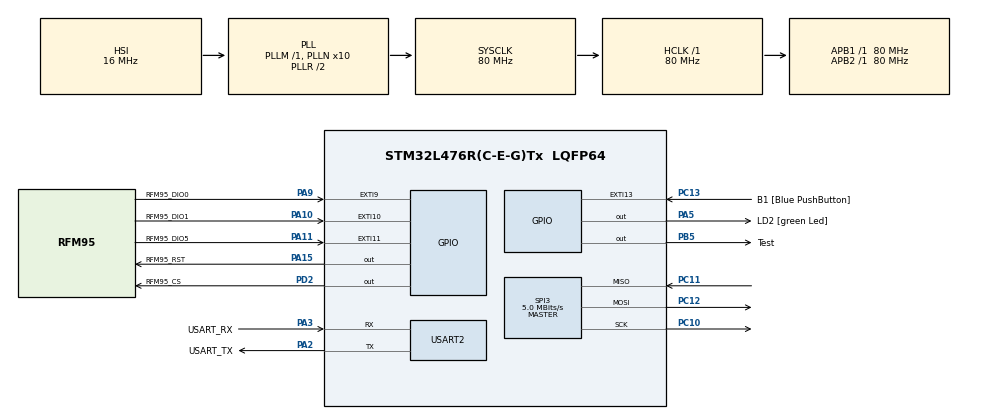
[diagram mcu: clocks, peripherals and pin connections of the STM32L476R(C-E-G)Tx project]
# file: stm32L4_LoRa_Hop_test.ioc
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Mcu.Family=STM32L4
Mcu.Name=STM32L476R(C-E-G)Tx
Mcu.Package=LQFP64
NVIC.EXTI15_10_IRQn=true\:0\:0\:false\:false\:true\:true\:true\:true
NVIC.EXTI9_5_IRQn=true\:0\:0\:false\:false\:true\:true\:true\:true
NVIC.LPTIM1_IRQn=true\:0\:0\:false\:false\:true\:true\:true\:true
NVIC.PriorityGroup=NVIC_PRIORITYGROUP_4
NVIC.RTC_WKUP_IRQn=true\:0\:0\:false\:false\:true\:true\:true\:true
PA10.GPIO_Label=RFM95_DIO1
PA10.Signal=GPXTI10
PA11.GPIO_Label=RFM95_DIO5
PA11.Signal=GPXTI11
PA13\ (JTMS-SWDIO).GPIO_Label=TMS
PA13\ (JTMS-SWDIO).Mode=Serial_Wire
PA13\ (JTMS-SWDIO).Signal=SYS_JTMS-SWDIO
PA14\ (JTCK-SWCLK).GPIO_Label=TCK
PA14\ (JTCK-SWCLK).Mode=Serial_Wire
PA14\ (JTCK-SWCLK).Signal=SYS_JTCK-SWCLK
PA15\ (JTDI).GPIO_Label=RFM95_RST
PA15\ (JTDI).GPIO_ModeDefaultOutputPP=GPIO_MODE_OUTPUT_OD
PA15\ (JTDI).GPIO_PuPd=GPIO_NOPULL
PA15\ (JTDI).PinState=GPIO_PIN_SET
PA15\ (JTDI).Signal=GPIO_Output
PA2.GPIO_Label=USART_TX
PA2.GPIO_Mode=GPIO_MODE_AF_PP
PA2.GPIO_PuPd=GPIO_NOPULL
PA2.GPIO_Speed=GPIO_SPEED_FREQ_VERY_HIGH
PA2.Mode=Asynchronous
PA2.Signal=USART2_TX
PA3.GPIO_Label=USART_RX
PA3.GPIO_Mode=GPIO_MODE_AF_PP
PA3.GPIO_PuPd=GPIO_NOPULL
PA3.GPIO_Speed=GPIO_SPEED_FREQ_VERY_HIGH
PA3.Mode=Asynchronous
PA3.Signal=USART2_RX
PA5.GPIO_Label=LD2 [green Led]
PA5.GPIO_ModeDefaultOutputPP=GPIO_MODE_OUTPUT_PP
PA5.GPIO_PuPd=GPIO_NOPULL
PA5.GPIO_Speed=GPIO_SPEED_FREQ_LOW
PA5.Signal=GPIO_Output
PA9.GPIO_Label=RFM95_DIO0
PA9.Signal=GPXTI9
PB3\ (JTDO-TRACESWO).GPIO_Label=SWO
PB3\ (JTDO-TRACESWO).Signal=SYS_JTDO-SWO
PB5.GPIO_Label=Test
PB5.Signal=GPIO_Output
PC10.Mode=Full_Duplex_Master
PC10.Signal=SPI3_SCK
PC11.GPIO_PuPd=GPIO_PULLUP
PC11.Mode=Full_Duplex_Master
PC11.Signal=SPI3_MISO
PC12.Mode=Full_Duplex_Master
PC12.Signal=SPI3_MOSI
PC13.GPIO_Label=B1 [Blue PushButton]
PC13.GPIO_ModeDefaultEXTI=GPIO_MODE_IT_FALLING
PC13.GPIO_PuPd=GPIO_NOPULL
PC13.Signal=GPXTI13
PC14-OSC32_IN\ (PC14).Mode=LSE-External-Oscillator
PC14-OSC32_IN\ (PC14).Signal=RCC_OSC32_IN
PC15-OSC32_OUT\ (PC15).Mode=LSE-External-Oscillator
PC15-OSC32_OUT\ (PC15).Signal=RCC_OSC32_OUT
PD2.GPIO_Label=RFM95_CS
PD2.GPIO_ModeDefaultOutputPP=GPIO_MODE_OUTPUT_PP
PD2.GPIO_PuPd=GPIO_PULLUP
PD2.GPIO_Speed=GPIO_SPEED_FREQ_MEDIUM
PD2.PinState=GPIO_PIN_SET
PD2.Signal=GPIO_Output
PH0-OSC_IN\ (PH0).Signal=RCC_OSC_IN
PH1-OSC_OUT\ (PH1).Signal=RCC_OSC_OUT
ProjectManager.HeapSize=0x200
ProjectManager.StackSize=0x400
ProjectManager.TargetToolchain=STM32CubeIDE
RCC.ADCFreq_Value=64000000
RCC.AHBFreq_Value=80000000
RCC.APB1Freq_Value=80000000
RCC.APB1TimFreq_Value=80000000
RCC.APB2Freq_Value=80000000
RCC.APB2TimFreq_Value=80000000
RCC.CK48CLockSelection=RCC_USBCLKSOURCE_PLL
RCC.CortexFreq_Value=80000000
RCC.HCLKFreq_Value=80000000
RCC.HSE_VALUE=8000000
RCC.HSI_VALUE=16000000
RCC.LPTIM1CLockSelection=RCC_LPTIM1CLKSOURCE_LSE
RCC.MSI_VALUE=4000000
RCC.PLLN=10
RCC.PLLQ=RCC_PLLQ_DIV8
RCC.PLLSourceVirtual=RCC_PLLSOURCE_HSI
RCC.PREFETCH_ENABLE=1
RCC.RTCClockSelection=RCC_RTCCLKSOURCE_LSE
RCC.SYSCLKFreq_VALUE=80000000
RCC.SYSCLKSource=RCC_SYSCLKSOURCE_PLLCLK
RCC.USBFreq_Value=20000000
RCC.VCOOutputFreq_Value=160000000
SPI3.BaudRatePrescaler=SPI_BAUDRATEPRESCALER_16
SPI3.CalculateBaudRate=5.0 MBits/s
SPI3.DataSize=SPI_DATASIZE_8BIT
SPI3.Direction=SPI_DIRECTION_2LINES
SPI3.Mode=SPI_MODE_MASTER
SPI3.VirtualType=VM_MASTER
USART2.VirtualMode-Asynchronous=VM_ASYNC
VP_LPTIM1_VS_LPTIM_counterModeInternalClock.Mode=Counts__internal_clock_event_00
VP_RNG_VS_RNG.Mode=RNG_Activate
VP_RTC_VS_RTC_Activate.Mode=RTC_Enabled
VP_RTC_VS_RTC_Calendar.Mode=RTC_Calendar
VP_RTC_VS_RTC_WakeUp_intern.Mode=WakeUp
board=NUCLEO-L476RG

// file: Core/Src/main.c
/* USER CODE BEGIN Header */
/**
  ******************************************************************************
  * @file           : main.c
  * @brief          : Main program body
  ******************************************************************************
  * @attention
  *
  * Copyright (c) 2025 STMicroelectronics.
  * All rights reserved.
  *
  * This software is licensed under terms that can be found in the LICENSE file
  * in the root directory of this software component.
  * If no LICENSE file comes with this software, it is provided AS-IS.
  *
  ******************************************************************************
  */
/* USER CODE END Header */
#include "main.h"

/* USER CODE BEGIN Includes */
#include "stdio.h"
#include "string.h"
#include "lora.h"
#include "buff_manager.h"
#include "app_events.h"
/* USER CODE END Includes */

/* USER CODE BEGIN PTD */
// rfm95 handler
rfm95_handle_t rfm95_handle = {0};

// setup linked list to hanlde TX sequence
LL_node tx_buff[BUFF_FIFO_SIZE];
LL_handler h_tx = {
    .head = 0,
    .tail = 0,
    .ins_idx = 0,

    .ll_status = LL_EMPTY,

    .ll_buff = &tx_buff[0]
};

// define RX buffer for BC payloads
rnode h_rx[BUFF_FIFO_SIZE];

// setup handler to manage RX - TX events
h_rx_tx h_buffs = {
    .h_rx = &h_rx[0],
    .h_tx = &h_tx
};

// system handler
Sys_handler h_sys = {
    .evt_flags = SYS_EVT_NO_PENDING,
    .state     = SYS_RDY
};

/* USER CODE END PTD */

LPTIM_HandleTypeDef hlptim1;

RNG_HandleTypeDef hrng;

RTC_HandleTypeDef hrtc;

SPI_HandleTypeDef hspi3;

UART_HandleTypeDef huart2;

/* USER CODE BEGIN PV */
// ------------- LPTIM ----------------
volatile uint32_t lptim_tick_msb = 0;
uint32_t tx_evt_time = 0;

// ----------- RX-TX FIFO -------------
events_flags app_flags = {0};           // handle status flags from RX TX buffers operation

// --------- Variables used for simulation ---------
volatile bool tx_evt = false;

uint8_t tx_seq_idx = 0;

// --------- Build some random payloads ------------
uint8_t pyl1[SENSOR_PLD_BYTES] = {0xAA,0xAA,0xBB,0xBB};
uint8_t pyl1_len = 4;

uint8_t pyl2[SENSOR_PLD_BYTES] = {0xCC,0xDD};
uint8_t pyl2_len = 2;

uint8_t pyl3[SENSOR_PLD_BYTES] = {0xEE,0xFF,0xDD,0xFF,0xEE,0x00,0x00,0xFF};
uint8_t pyl3_len = 8;

/* USER CODE END PV */

void SystemClock_Config(void);
static void MX_GPIO_Init(void);
static void MX_USART2_UART_Init(void);
static void MX_RTC_Init(void);
static void MX_SPI3_Init(void);
static void MX_LPTIM1_Init(void);
static void MX_RNG_Init(void);
/* USER CODE BEGIN PFP */
int _write(int file, char *ptr, int len);
void debug_pin_set();
void debug_pin_rst();

static bool     init_rfm();
static uint32_t get_precision_tick();
static void 		precision_sleep_until(uint32_t target_ticks);
static uint8_t	get_battery_level();
static void     rfm95_after_interrupts_configured();

uint8_t get_random_number(uint32_t *random_number, uint16_t timeout);
static uint16_t random_wait(uint16_t min, uint16_t max);
static void schedule_tx_evt(uint16_t min, uint16_t max);

void MySystemClock_Config(void);
void enterStopMode();

void print_LL();
void build_pkt(uint16_t sync, uint8_t mask, uint8_t nodeID, uint16_t pktID, uint8_t* sensors, uint8_t sens_len,
		           int16_t rssi, uint8_t* bc_seq, uint8_t bc_seq_len, uint8_t* t_buff, uint8_t* t_buff_len);

/* USER CODE END PFP */

/* USER CODE BEGIN 0 */

// -------------- Define here the test sequence ----------------

// ----> ENV NODE 1 (define here PKTs from operator 1)
test_buff e1_p1_bc22  = {0};
test_buff e1_p1_bc54  = {0};
test_buff e1_p1_bc543 = {0};
test_buff e1_p1_bc51  = {0};
test_buff e1_p1_bc64  = {0};
test_buff e1_p2_bc41  = {0};
test_buff e1_p1_bc21  = {0};
test_buff e1_p1_bc31  = {0};
test_buff e1_p2_bc22  = {0};
test_buff e1_p2_bc43  = {0};

test_buff e1_p1_bc22_a  = {0};
test_buff e1_p1_bc54_a  = {0};
test_buff e1_p2_bc54_a  = {0};
test_buff e1_p2_bc51_a  = {0};
test_buff e1_p1_bc51_a  = {0};
test_buff e1_p1_bc543_a = {0};

test_buff e1_p1_bc43_A  = {0};
test_buff e1_p1_bc543_A = {0};

// ----> ENV NODE 2 (define here PKTs from operator 2)
test_buff e2_p1_bc51  = {0};

test_buff e2_p1_bc64_a  = {0};

// ----> ENV NODE 3 (define here PKTs from operator 3)
test_buff e3_p1_bc53  = {0};
test_buff e3_p1_bc64  = {0};

test_buff e3_p1_bc64_a  = {0};

// ----> GENERAL BUFF (This one defines the test TX sequence)
test_buff* test_buffs[] = {
		&e1_p1_bc543,
		&e1_p1_bc54_a,
		&e1_p2_bc54_a,
		&e1_p2_bc51_a,

    &e1_p1_bc43_A,
    &e1_p1_bc543_A,
    &e1_p1_bc22_a,
    &e1_p1_bc543_a,

		&e1_p1_bc51_a,
		&e1_p1_bc543_A,
    &e1_p1_bc51,
    &e1_p1_bc54,

//		&e1_p1_bc43_A,
//		&e1_p1_bc543_A,

//		&e1_p1_bc543_a,
//		&e1_p1_bc22_a,
//		&e2_p1_bc64_a,
//		&e3_p1_bc64_a,
//		&e1_p1_bc51_a,
//		&e1_p1_bc543_a,
//		&e1_p1_bc543_a,
//		&e1_p1_bc543_a,
//		&e1_p1_bc543_a,

		&e1_p1_bc51,
		&e1_p1_bc54,
		&e1_p2_bc43,
//		&e1_p1_bc64,
//		&e1_p1_bc22,
		&e1_p1_bc22,
		&e1_p2_bc22,
		&e1_p1_bc64,
		&e1_p1_bc22,
//		&e1_p1_bc21,
//		&e1_p2_bc41,
//		&e1_p1_bc31,
//		&e2_p1_bc51,
		&e3_p1_bc53,
		&e3_p1_bc64
};

#define TEST_SEQ_SIZE (sizeof(test_buffs)/sizeof(test_buffs[0]))

/* USER CODE END 0 */

int main(void)
{

  /* USER CODE BEGIN 1 */

	// ---- POPOLATE TEST BUFFER ----
  uint8_t bc_seq[20];

  /*
   * VARIABLES FOR BUILDING PKT ARRAY:
   *
   * uint8_t mask, uint8_t nodeID, uint16_t pktID, uint8_t* sensors, uint8_t sens_len,
   * int16_t RSSI, uint8_t* bc_seq, uint8_t bc_seq_len, uint8_t* t_buff, uint8_t* t_buff_le
   */

	// ----> ENV NODE 1
	build_pkt(SYNC_WORD_ENV, 0, 1, 1, pyl1, pyl1_len, 0, bc_seq, 0, e1_p1_bc22.buff, &e1_p1_bc22.len);

	build_pkt(SYNC_WORD_ENV, 0, 1, 2, pyl2, pyl2_len, 0, bc_seq, 0, e1_p2_bc22.buff, &e1_p2_bc22.len);

	bc_seq[0] = 5;
	bc_seq[1] = 4;
	build_pkt(SYNC_WORD_BC, 0, 1, 1, pyl1, pyl1_len, -89, bc_seq, 2, e1_p1_bc54.buff, &e1_p1_bc54.len);

	bc_seq[0] = 5;
	bc_seq[1] = 4;
	bc_seq[2] = 2;
	bc_seq[3] = 1;
	build_pkt(SYNC_WORD_BC, 0, 1, 1, pyl1, pyl1_len, -89, bc_seq, 4, e1_p1_bc51.buff, &e1_p1_bc51.len);

	bc_seq[0] = 5;
	bc_seq[1] = 4;
	bc_seq[2] = 3;
	build_pkt(SYNC_WORD_BC, 0, 1, 1, pyl1, pyl1_len, -92, bc_seq, 3, e1_p1_bc543.buff, &e1_p1_bc543.len);

	bc_seq[0] = 6;
	bc_seq[1] = 5;
	bc_seq[2] = 4;
	build_pkt(SYNC_WORD_BC, 0, 1, 1, pyl1, pyl1_len, -99, bc_seq, 3, e1_p1_bc64.buff, &e1_p1_bc64.len);

	bc_seq[0] = 2;
	bc_seq[1] = 1;
	build_pkt(SYNC_WORD_BC, 0, 1, 1, pyl1, pyl1_len, -123, bc_seq, 2, e1_p1_bc21.buff, &e1_p1_bc21.len);

	bc_seq[0] = 3;
	bc_seq[1] = 2;
	bc_seq[2] = 1;
	build_pkt(SYNC_WORD_BC, 0, 1, 1, pyl1, pyl1_len, -123, bc_seq, 3, e1_p1_bc31.buff, &e1_p1_bc31.len);

	bc_seq[0] = 4;
	bc_seq[1] = 3;
	bc_seq[2] = 1;
	build_pkt(SYNC_WORD_BC, 0, 1, 2, pyl3, pyl3_len, -74, bc_seq, 3, e1_p2_bc41.buff, &e1_p2_bc41.len);

	bc_seq[0] = 4;
	bc_seq[1] = 3;
	build_pkt(SYNC_WORD_BC, 0, 1, 2, pyl3, pyl3_len, -78, bc_seq, 2, e1_p2_bc43.buff, &e1_p2_bc43.len);

	// ALARM PKTs for ENV1
	uint8_t mask;

	mask = (1 << ALARM_BIT_POS) | (0 << ACK_BIT_POS) | (0 << RETX_BIT_POS);
	build_pkt(SYNC_WORD_ENV, mask, 1, 1, pyl1, pyl1_len, -50, bc_seq, 0, e1_p1_bc22_a.buff, &e1_p1_bc22_a.len);

	bc_seq[0] = 5;
	bc_seq[1] = 4;
	mask = (1 << ALARM_BIT_POS) | (0 << ACK_BIT_POS) | (0 << RETX_BIT_POS);
	build_pkt(SYNC_WORD_BC, mask, 1, 1, pyl1, pyl1_len, -89, bc_seq, 2, e1_p1_bc54_a.buff, &e1_p1_bc54_a.len);

	bc_seq[0] = 5;
	bc_seq[1] = 4;
	bc_seq[3] = 1;
	mask = (1 << ALARM_BIT_POS) | (0 << ACK_BIT_POS) | (0 << RETX_BIT_POS);
	build_pkt(SYNC_WORD_BC, mask, 1, 1, pyl1, pyl1_len, -89, bc_seq, 3, e1_p1_bc51_a.buff, &e1_p1_bc51_a.len);

	bc_seq[0] = 5;
	bc_seq[1] = 4;
	bc_seq[2] = 3;
	mask = (1 << ALARM_BIT_POS) | (0 << ACK_BIT_POS) | (0 << RETX_BIT_POS);
	build_pkt(SYNC_WORD_BC, mask, 1, 1, pyl1, pyl1_len, -92, bc_seq, 3, e1_p1_bc543_a.buff, &e1_p1_bc543_a.len);

	bc_seq[0] = 4;
	bc_seq[1] = 3;
	mask = (1 << ALARM_BIT_POS) | (1 << ACK_BIT_POS) | (0 << RETX_BIT_POS);
	build_pkt(SYNC_WORD_BC, mask, 1, 1, pyl1, pyl1_len, -92, bc_seq, 2, e1_p1_bc43_A.buff, &e1_p1_bc43_A.len);

	bc_seq[0] = 5;
	bc_seq[1] = 4;
	bc_seq[2] = 3;
	mask = (1 << ALARM_BIT_POS) | (1 << ACK_BIT_POS) | (0 << RETX_BIT_POS);
	build_pkt(SYNC_WORD_BC, mask, 1, 1, pyl1, pyl1_len, -92, bc_seq, 3, e1_p1_bc543_A.buff, &e1_p1_bc543_A.len);

	bc_seq[0] = 5;
  bc_seq[1] = 4;
  mask = (1 << ALARM_BIT_POS) | (0 << ACK_BIT_POS) | (0 << RETX_BIT_POS);
  build_pkt(SYNC_WORD_BC, mask, 1, 2, pyl1, pyl1_len, -102, bc_seq, 2, e1_p2_bc54_a.buff, &e1_p2_bc54_a.len);

  bc_seq[0] = 5;
  bc_seq[1] = 4;
  bc_seq[2] = 3;
  bc_seq[3] = 1;
  mask = (1 << ALARM_BIT_POS) | (0 << ACK_BIT_POS) | (0 << RETX_BIT_POS);
  build_pkt(SYNC_WORD_BC, mask, 1, 2, pyl1, pyl1_len, -122, bc_seq, 4, e1_p2_bc51_a.buff, &e1_p2_bc51_a.len);

	// ----> ENV NODE 2
	bc_seq[0] = 5;
	bc_seq[1] = 3;
	bc_seq[2] = 1;
	build_pkt(SYNC_WORD_BC, 0, 2, 1, pyl2, pyl2_len,  -80, bc_seq, 3, e2_p1_bc51.buff, &e2_p1_bc51.len);

	// ALARM PKTs for ENV2
	bc_seq[0] = 6;
	bc_seq[1] = 4;
	mask = (1 << ALARM_BIT_POS) | (0 << ACK_BIT_POS) | (0 << RETX_BIT_POS);
	build_pkt(SYNC_WORD_BC, mask, 2, 1, pyl3, pyl3_len, -42, bc_seq, 2, e2_p1_bc64_a.buff, &e2_p1_bc64_a.len);

	// ----> ENV NODE 3
	bc_seq[0] = 5;
	bc_seq[1] = 4;
	bc_seq[2] = 3;
	build_pkt(SYNC_WORD_BC, 0, 3, 1, pyl3, pyl3_len,  -91, bc_seq, 3, e3_p1_bc53.buff, &e3_p1_bc53.len);

	bc_seq[0] = 6;
	bc_seq[1] = 5;
	bc_seq[2] = 4;
	build_pkt(SYNC_WORD_BC, 0, 3, 1, pyl3, pyl3_len, -101, bc_seq, 3, e3_p1_bc64.buff, &e3_p1_bc64.len);

	// ALARM PKTs for ENV3
	bc_seq[0] = 6;
	bc_seq[1] = 5;
	bc_seq[2] = 4;
	mask = (1 << ALARM_BIT_POS) | (0 << ACK_BIT_POS) | (0 << RETX_BIT_POS);
	build_pkt(SYNC_WORD_BC, mask, 3, 1, pyl3, pyl3_len, -101, bc_seq, 3, e3_p1_bc64_a.buff, &e3_p1_bc64_a.len);

  /* USER CODE END 1 */

  /* MCU Configuration--------------------------------------------------------*/

  /* Reset of all peripherals, Initializes the Flash interface and the Systick. */
  HAL_Init();

  /* Configure the system clock */
  SystemClock_Config();

  /* Initialize all configured peripherals */
  MX_GPIO_Init();
  MX_USART2_UART_Init();
  MX_RTC_Init();
  MX_SPI3_Init();
  MX_LPTIM1_Init();
  MX_RNG_Init();
  /* USER CODE BEGIN 2 */

  printf("start\r\n");

  // init RX and TX handler
  init_buffers(&h_buffs);

  // init RF in RX mode
  if (!init_rfm()) printf("Error during RFM initialization\r\n");

  /* USER CODE END 2 */

  /* Infinite loop */
  while (1){

    /* USER CODE BEGIN 3 */

  	if (tx_evt == true) {
  		tx_evt = false;

  		uint8_t c_len  = test_buffs[tx_seq_idx]->len;
  		uint8_t c_node = test_buffs[tx_seq_idx]->buff[NODE_ID_POS];
  		uint16_t c_pkt = ((uint16_t)(test_buffs[tx_seq_idx]->buff[PKT_ID_MSB_POS] << 8)) | test_buffs[tx_seq_idx]->buff[PKT_ID_LSB_POS];
  		uint8_t  c_bc1 = test_buffs[tx_seq_idx]->buff[BC_ID1_POS];
  		uint8_t  c_bcL = test_buffs[tx_seq_idx]->buff[c_len-1];

  		uint8_t c_alrm     = test_buffs[tx_seq_idx]->buff[MASK_POS] & MASK_ALARM_BIT;
  		uint8_t c_alrm_ack = test_buffs[tx_seq_idx]->buff[MASK_POS] & MASK_ALARM_ACK;

  		if (c_alrm_ack){
  			printf("\n###### ALARM ACK PKT E%d-P%d-%d%d\r\n",c_node,c_pkt,c_bc1,c_bcL);
  		} else if (c_alrm) {
  			printf("\n###### ALARM PKT E%d-P%d-%d%d\r\n",c_node,c_pkt,c_bc1,c_bcL);
  		} else {
  			printf("\n###### TX PKT E%d-P%d-%d%d\r\n",c_node,c_pkt,c_bc1,c_bcL);
  		}

  		/* Prepare TX buff here */

  		/* TX payload here */
			if (!rfm95_send(&rfm95_handle, test_buffs[tx_seq_idx]->buff, test_buffs[tx_seq_idx]->len)) printf("TX error");
			tx_seq_idx+=1;

			if (tx_seq_idx >= TEST_SEQ_SIZE) tx_seq_idx = 0;

  		/* set RFM95 back to continuous RX mode */
			if(!rfm95_enter_rx_mode(&rfm95_handle)) printf("RFM err entering RX\r\n");
  	}

  	if (h_sys.evt_flags & SYS_EVT_RX_PENDING) {
  		 h_sys.evt_flags &= ~SYS_EVT_RX_PENDING;

  		 // read rfm data and print
  		 uint8_t rx_buff[LORA_PAYLOAD_MAX_SIZE];
  		 uint8_t rx_buff_len;

  		 /* set standby mode to read data from rfm95 */
			 if(!rfm95_stdby(&rfm95_handle)) printf("RFM err stdby\r\n");

			 /* read received data */
			 if(!rfm95_receive(&rfm95_handle, &rx_buff[0], &rx_buff_len)) {

				 printf("RX error");
				 // do domething...

			 } else {

				 if (rx_buff_len < ENV_NODE_PYL_SIZE) {

					 printf("\nPKT too short, drop\r\n");

				 } else {

					 uint16_t sync = (uint16_t)((rx_buff[SYNC_WORD_POS] << 8) | (rx_buff[SYNC_WORD_POS+1]));

					 if (sync != SYNC_WORD_BC) { /* Check if TX comes from known BC node */

						 printf("\nWrong SYNC,PKT drop\r\n");

					 } else {

						 uint8_t  masks     = rx_buff[MASK_POS];
						 uint8_t  node_id   = rx_buff[NODE_ID_POS];
						 uint16_t pkt_id    = (rx_buff[PKT_ID_MSB_POS] << 8) | rx_buff[PKT_ID_LSB_POS];

						 uint8_t data[SENSOR_PLD_BYTES];
						 memcpy(data, &rx_buff[SMPL_DATA_POS], SENSOR_PLD_BYTES);

						 int16_t rssi       = (int16_t) ((rx_buff[RSSI_POS] << 8) | rx_buff[RSSI_POS + 1]);
						 uint8_t bc_id1     = rx_buff[BC_ID1_POS];
						 uint8_t last_bc_id = rx_buff[rx_buff_len-1];

						 uint8_t tx_bc_id   = 0;
						 if (rx_buff_len >= ENV_NODE_PYL_SIZE + RSSI_BYTES + 2*BC_ID_BYTES) tx_bc_id = rx_buff[rx_buff_len-2];

						 printf("\n###### RX PKT ######\r\n");
						 printf("       SYNC: 0x%04X\r\n", sync);
						 printf("        MSK: %d\r\n", masks);
						 printf("          - alarm: %d\r\n", (masks&MASK_ALARM_BIT) >> ALARM_BIT_POS);
						 printf("          -   ack: %d\r\n", (masks&MASK_ALARM_ACK) >> ACK_BIT_POS);
						 printf("    NODE ID: %d\r\n", node_id);
						 printf("     PKT ID: %d\r\n", pkt_id);
						 printf("       RSSI: %i\r\n", rssi);
						 printf("  1st BC ID: %d\r\n", bc_id1);
						 printf("   Tx BC ID: %d\r\n", tx_bc_id);
						 printf(" last BC ID: %d\r\n", last_bc_id);

						 // plot payload:
						 printf(" PYLD: ");
						 for(uint8_t i = 0; i < SENSOR_PLD_BYTES; i++){
							 printf("0x%02X ", data[i]);
						 }
						 printf("\r\n");

					 }

				 }

				 /* set RFM95 back to continuous RX mode */
				 if(!rfm95_enter_rx_mode(&rfm95_handle)) printf("RFM err entering RX\r\n");

			 }
  	}

  } // End of While superloop
  /* USER CODE END 3 */
}

void SystemClock_Config(void)
{
  RCC_OscInitTypeDef RCC_OscInitStruct = {0};
  RCC_ClkInitTypeDef RCC_ClkInitStruct = {0};

  /** Configure the main internal regulator output voltage
  */
  if (HAL_PWREx_ControlVoltageScaling(PWR_REGULATOR_VOLTAGE_SCALE1) != HAL_OK)
  {
    Error_Handler();
  }

  /** Configure LSE Drive Capability
  */
  HAL_PWR_EnableBkUpAccess();
  __HAL_RCC_LSEDRIVE_CONFIG(RCC_LSEDRIVE_LOW);

  /** Initializes the RCC Oscillators according to the specified parameters
  * in the RCC_OscInitTypeDef structure.
  */
  RCC_OscInitStruct.OscillatorType = RCC_OSCILLATORTYPE_HSI|RCC_OSCILLATORTYPE_LSE;
  RCC_OscInitStruct.LSEState = RCC_LSE_ON;
  RCC_OscInitStruct.HSIState = RCC_HSI_ON;
  RCC_OscInitStruct.HSICalibrationValue = RCC_HSICALIBRATION_DEFAULT;
  RCC_OscInitStruct.PLL.PLLState = RCC_PLL_ON;
  RCC_OscInitStruct.PLL.PLLSource = RCC_PLLSOURCE_HSI;
  RCC_OscInitStruct.PLL.PLLM = 1;
  RCC_OscInitStruct.PLL.PLLN = 10;
  RCC_OscInitStruct.PLL.PLLP = RCC_PLLP_DIV7;
  RCC_OscInitStruct.PLL.PLLQ = RCC_PLLQ_DIV8;
  RCC_OscInitStruct.PLL.PLLR = RCC_PLLR_DIV2;
  if (HAL_RCC_OscConfig(&RCC_OscInitStruct) != HAL_OK)
  {
    Error_Handler();
  }

  /** Initializes the CPU, AHB and APB buses clocks
  */
  RCC_ClkInitStruct.ClockType = RCC_CLOCKTYPE_HCLK|RCC_CLOCKTYPE_SYSCLK
                              |RCC_CLOCKTYPE_PCLK1|RCC_CLOCKTYPE_PCLK2;
  RCC_ClkInitStruct.SYSCLKSource = RCC_SYSCLKSOURCE_PLLCLK;
  RCC_ClkInitStruct.AHBCLKDivider = RCC_SYSCLK_DIV1;
  RCC_ClkInitStruct.APB1CLKDivider = RCC_HCLK_DIV1;
  RCC_ClkInitStruct.APB2CLKDivider = RCC_HCLK_DIV1;

  if (HAL_RCC_ClockConfig(&RCC_ClkInitStruct, FLASH_LATENCY_4) != HAL_OK)
  {
    Error_Handler();
  }
}

static void MX_LPTIM1_Init(void)
{

  hlptim1.Instance = LPTIM1;
  hlptim1.Init.Clock.Source = LPTIM_CLOCKSOURCE_APBCLOCK_LPOSC;
  hlptim1.Init.Clock.Prescaler = LPTIM_PRESCALER_DIV1;
  hlptim1.Init.Trigger.Source = LPTIM_TRIGSOURCE_SOFTWARE;
  hlptim1.Init.OutputPolarity = LPTIM_OUTPUTPOLARITY_HIGH;
  hlptim1.Init.UpdateMode = LPTIM_UPDATE_IMMEDIATE;
  hlptim1.Init.CounterSource = LPTIM_COUNTERSOURCE_INTERNAL;
  hlptim1.Init.Input1Source = LPTIM_INPUT1SOURCE_GPIO;
  hlptim1.Init.Input2Source = LPTIM_INPUT2SOURCE_GPIO;
  if (HAL_LPTIM_Init(&hlptim1) != HAL_OK)
  {
    Error_Handler();
  }

}

static void MX_RNG_Init(void)
{

  hrng.Instance = RNG;
  if (HAL_RNG_Init(&hrng) != HAL_OK)
  {
    Error_Handler();
  }

}

static void MX_RTC_Init(void)
{

  RTC_TimeTypeDef sTime = {0};
  RTC_DateTypeDef sDate = {0};

  /** Initialize RTC Only
  */
  hrtc.Instance = RTC;
  hrtc.Init.HourFormat = RTC_HOURFORMAT_24;
  hrtc.Init.AsynchPrediv = 127;
  hrtc.Init.SynchPrediv = 255;
  hrtc.Init.OutPut = RTC_OUTPUT_DISABLE;
  hrtc.Init.OutPutRemap = RTC_OUTPUT_REMAP_NONE;
  hrtc.Init.OutPutPolarity = RTC_OUTPUT_POLARITY_HIGH;
  hrtc.Init.OutPutType = RTC_OUTPUT_TYPE_OPENDRAIN;
  if (HAL_RTC_Init(&hrtc) != HAL_OK)
  {
    Error_Handler();
  }

  /** Initialize RTC and set the Time and Date
  */
  sTime.Hours = 0x0;
  sTime.Minutes = 0x0;
  sTime.Seconds = 0x0;
  sTime.DayLightSaving = RTC_DAYLIGHTSAVING_NONE;
  sTime.StoreOperation = RTC_STOREOPERATION_RESET;
  if (HAL_RTC_SetTime(&hrtc, &sTime, RTC_FORMAT_BCD) != HAL_OK)
  {
    Error_Handler();
  }
  sDate.WeekDay = RTC_WEEKDAY_MONDAY;
  sDate.Month = RTC_MONTH_JANUARY;
  sDate.Date = 0x1;
  sDate.Year = 0x0;

  if (HAL_RTC_SetDate(&hrtc, &sDate, RTC_FORMAT_BCD) != HAL_OK)
  {
    Error_Handler();
  }
  /* USER CODE BEGIN RTC_Init 2 */

  // make sure RTC wkup is not running:
  HAL_RTCEx_DeactivateWakeUpTimer(&hrtc);

  /* USER CODE END RTC_Init 2 */

}

static void MX_SPI3_Init(void)
{

  /* SPI3 parameter configuration*/
  hspi3.Instance = SPI3;
  hspi3.Init.Mode = SPI_MODE_MASTER;
  hspi3.Init.Direction = SPI_DIRECTION_2LINES;
  hspi3.Init.DataSize = SPI_DATASIZE_8BIT;
  hspi3.Init.CLKPolarity = SPI_POLARITY_LOW;
  hspi3.Init.CLKPhase = SPI_PHASE_1EDGE;
  hspi3.Init.NSS = SPI_NSS_SOFT;
  hspi3.Init.BaudRatePrescaler = SPI_BAUDRATEPRESCALER_16;
  hspi3.Init.FirstBit = SPI_FIRSTBIT_MSB;
  hspi3.Init.TIMode = SPI_TIMODE_DISABLE;
  hspi3.Init.CRCCalculation = SPI_CRCCALCULATION_DISABLE;
  hspi3.Init.CRCPolynomial = 7;
  hspi3.Init.CRCLength = SPI_CRC_LENGTH_DATASIZE;
  hspi3.Init.NSSPMode = SPI_NSS_PULSE_ENABLE;
  if (HAL_SPI_Init(&hspi3) != HAL_OK)
  {
    Error_Handler();
  }
  /* USER CODE BEGIN SPI3_Init 2 */
  /*
   * This dummy sequence sets clock LOW when idle, MOSI and MISO to a definite state (either HIGH or LOW)
   */
   uint8_t dummy = 0xFF;
   HAL_SPI_Transmit(&hspi3, &dummy, 1, 10);

  /* USER CODE END SPI3_Init 2 */

}

static void MX_USART2_UART_Init(void)
{

  huart2.Instance = USART2;
  huart2.Init.BaudRate = 115200;
  huart2.Init.WordLength = UART_WORDLENGTH_8B;
  huart2.Init.StopBits = UART_STOPBITS_1;
  huart2.Init.Parity = UART_PARITY_NONE;
  huart2.Init.Mode = UART_MODE_TX_RX;
  huart2.Init.HwFlowCtl = UART_HWCONTROL_NONE;
  huart2.Init.OverSampling = UART_OVERSAMPLING_16;
  huart2.Init.OneBitSampling = UART_ONE_BIT_SAMPLE_DISABLE;
  huart2.AdvancedInit.AdvFeatureInit = UART_ADVFEATURE_NO_INIT;
  if (HAL_UART_Init(&huart2) != HAL_OK)
  {
    Error_Handler();
  }

}

static void MX_GPIO_Init(void)
{
  GPIO_InitTypeDef GPIO_InitStruct = {0};

  /* GPIO Ports Clock Enable */
  __HAL_RCC_GPIOC_CLK_ENABLE();
  __HAL_RCC_GPIOH_CLK_ENABLE();
  __HAL_RCC_GPIOA_CLK_ENABLE();
  __HAL_RCC_GPIOB_CLK_ENABLE();
  __HAL_RCC_GPIOD_CLK_ENABLE();

  /*Configure GPIO pin Output Level */
  HAL_GPIO_WritePin(LD2_GPIO_Port, LD2_Pin, GPIO_PIN_RESET);

  /*Configure GPIO pin Output Level */
  HAL_GPIO_WritePin(RFM95_RST_GPIO_Port, RFM95_RST_Pin, GPIO_PIN_SET);

  /*Configure GPIO pin Output Level */
  HAL_GPIO_WritePin(RFM95_CS_GPIO_Port, RFM95_CS_Pin, GPIO_PIN_SET);

  /*Configure GPIO pin Output Level */
  HAL_GPIO_WritePin(Test_GPIO_Port, Test_Pin, GPIO_PIN_RESET);

  /*Configure GPIO pin : B1_Pin */
  GPIO_InitStruct.Pin = B1_Pin;
  GPIO_InitStruct.Mode = GPIO_MODE_IT_FALLING;
  GPIO_InitStruct.Pull = GPIO_NOPULL;
  HAL_GPIO_Init(B1_GPIO_Port, &GPIO_InitStruct);

  /*Configure GPIO pins : PC0 PC1 PC2 PC3
                           PC4 PC5 PC6 PC7
                           PC8 PC9 */
  GPIO_InitStruct.Pin = GPIO_PIN_0|GPIO_PIN_1|GPIO_PIN_2|GPIO_PIN_3
                          |GPIO_PIN_4|GPIO_PIN_5|GPIO_PIN_6|GPIO_PIN_7
                          |GPIO_PIN_8|GPIO_PIN_9;
  GPIO_InitStruct.Mode = GPIO_MODE_ANALOG;
  GPIO_InitStruct.Pull = GPIO_NOPULL;
  HAL_GPIO_Init(GPIOC, &GPIO_InitStruct);

  /*Configure GPIO pins : PA0 PA1 PA4 PA6
                           PA7 PA8 PA12 */
  GPIO_InitStruct.Pin = GPIO_PIN_0|GPIO_PIN_1|GPIO_PIN_4|GPIO_PIN_6
                          |GPIO_PIN_7|GPIO_PIN_8|GPIO_PIN_12;
  GPIO_InitStruct.Mode = GPIO_MODE_ANALOG;
  GPIO_InitStruct.Pull = GPIO_NOPULL;
  HAL_GPIO_Init(GPIOA, &GPIO_InitStruct);

  /*Configure GPIO pin : LD2_Pin */
  GPIO_InitStruct.Pin = LD2_Pin;
  GPIO_InitStruct.Mode = GPIO_MODE_OUTPUT_PP;
  GPIO_InitStruct.Pull = GPIO_NOPULL;
  GPIO_InitStruct.Speed = GPIO_SPEED_FREQ_LOW;
  HAL_GPIO_Init(LD2_GPIO_Port, &GPIO_InitStruct);

  /*Configure GPIO pins : PB0 PB1 PB2 PB10
                           PB11 PB12 PB13 PB14
                           PB15 PB4 PB6 PB7
                           PB8 PB9 */
  GPIO_InitStruct.Pin = GPIO_PIN_0|GPIO_PIN_1|GPIO_PIN_2|GPIO_PIN_10
                          |GPIO_PIN_11|GPIO_PIN_12|GPIO_PIN_13|GPIO_PIN_14
                          |GPIO_PIN_15|GPIO_PIN_4|GPIO_PIN_6|GPIO_PIN_7
                          |GPIO_PIN_8|GPIO_PIN_9;
  GPIO_InitStruct.Mode = GPIO_MODE_ANALOG;
  GPIO_InitStruct.Pull = GPIO_NOPULL;
  HAL_GPIO_Init(GPIOB, &GPIO_InitStruct);

  /*Configure GPIO pins : RFM95_DIO0_Pin RFM95_DIO1_Pin RFM95_DIO5_Pin */
  GPIO_InitStruct.Pin = RFM95_DIO0_Pin|RFM95_DIO1_Pin|RFM95_DIO5_Pin;
  GPIO_InitStruct.Mode = GPIO_MODE_IT_RISING;
  GPIO_InitStruct.Pull = GPIO_NOPULL;
  HAL_GPIO_Init(GPIOA, &GPIO_InitStruct);

  /*Configure GPIO pin : RFM95_RST_Pin */
  GPIO_InitStruct.Pin = RFM95_RST_Pin;
  GPIO_InitStruct.Mode = GPIO_MODE_OUTPUT_OD;
  GPIO_InitStruct.Pull = GPIO_NOPULL;
  GPIO_InitStruct.Speed = GPIO_SPEED_FREQ_LOW;
  HAL_GPIO_Init(RFM95_RST_GPIO_Port, &GPIO_InitStruct);

  /*Configure GPIO pin : RFM95_CS_Pin */
  GPIO_InitStruct.Pin = RFM95_CS_Pin;
  GPIO_InitStruct.Mode = GPIO_MODE_OUTPUT_PP;
  GPIO_InitStruct.Pull = GPIO_PULLUP;
  GPIO_InitStruct.Speed = GPIO_SPEED_FREQ_MEDIUM;
  HAL_GPIO_Init(RFM95_CS_GPIO_Port, &GPIO_InitStruct);

  /*Configure GPIO pin : Test_Pin */
  GPIO_InitStruct.Pin = Test_Pin;
  GPIO_InitStruct.Mode = GPIO_MODE_OUTPUT_PP;
  GPIO_InitStruct.Pull = GPIO_NOPULL;
  GPIO_InitStruct.Speed = GPIO_SPEED_FREQ_LOW;
  HAL_GPIO_Init(Test_GPIO_Port, &GPIO_InitStruct);

  /* EXTI interrupt init*/
  HAL_NVIC_SetPriority(EXTI9_5_IRQn, 0, 0);
  HAL_NVIC_EnableIRQ(EXTI9_5_IRQn);

//  HAL_NVIC_SetPriority(EXTI15_10_IRQn, 0, 0);
//  HAL_NVIC_EnableIRQ(EXTI15_10_IRQn);

}

/* USER CODE BEGIN 4 */

// -------------- RFM95 user defined functions -------------------

/*
 *
 */
bool init_rfm(){

  // Start lptim timer
  HAL_LPTIM_Counter_Start_IT(&hlptim1, 0xFFFF);

  // config RFM95
  rfm95_handle.rfm_timer  = &hlptim1;
  rfm95_handle.spi_handle = &hspi3;
  rfm95_handle.nrst_port  = RFM95_RST_GPIO_Port;
  rfm95_handle.nrst_pin   = RFM95_RST_Pin;
  rfm95_handle.nss_port   = RFM95_CS_GPIO_Port;
  rfm95_handle.nss_pin    = RFM95_CS_Pin;

  rfm95_handle.precision_tick_frequency = LSE_CLK;
  rfm95_handle.precision_tick_drift_ns_per_s = 20000;
  rfm95_handle.get_precision_tick = get_precision_tick;
  rfm95_handle.precision_sleep_until = precision_sleep_until;
  rfm95_handle.on_after_interrupts_configured = rfm95_after_interrupts_configured;
  //rfm95_handle.random_int = random_int;
  rfm95_handle.get_battery_level = get_battery_level;

  // Modify parameters here:
  rfm95_set_power(&rfm95_handle, LORA_TX_POWER); // power 2 dBm - 17 dBm
  rfm95_set_frequency(&rfm95_handle, LORA_CH_FREQ);
  rfm95_set_BW(&rfm95_handle, LORA_BW);
  rfm95_set_CR(&rfm95_handle, LORA_CR);
  rfm95_set_SF(&rfm95_handle, LORA_SF);
  rfm95_set_syncWord(&rfm95_handle, LORA_SYNC_WORD);

  // initialize RFM95
  if(!rfm95_init(&rfm95_handle)) return false;

  // set RFM95 to continuous RX mode
  if(!rfm95_enter_rx_mode(&rfm95_handle)) return false;

  return true;
}

/*
 * return precise timing based on internal LPTIM module
 */
static uint32_t get_precision_tick(){
	__disable_irq();
	uint32_t precision_tick = lptim_tick_msb | HAL_LPTIM_ReadCounter(&hlptim1);
	__enable_irq();
	return precision_tick;
}

/*
 * Allows to set the MCU into STOP2 mode with accurate wkup timer
 */
static void precision_sleep_until(uint32_t target_ticks){
	while(1){
		uint32_t curr_tick = get_precision_tick();

		// exit condition:
		if(target_ticks < curr_tick) break;

		uint32_t sleep_ticks = target_ticks - curr_tick;

		// avoid short sleep intervals:
		if(sleep_ticks < 10) break;
		else {
			// overall CMP value - some margin (needed to reset clock configurations after stop mode2)
			uint32_t compare_tick = (curr_tick & 0xFFFF) + sleep_ticks - 10;

			if (compare_tick >= 0xFFFF){ // ARR will awake MCU before compare
				HAL_SuspendTick();
				enterStopMode();
			} else { // otherwise CMP keeps MCU sleep all time
				__HAL_LPTIM_CLEAR_FLAG(&hlptim1, LPTIM_FLAG_CMPOK);
				__HAL_LPTIM_COMPARE_SET(&hlptim1, compare_tick);            // set CMP limit

				while (!__HAL_LPTIM_GET_FLAG(&hlptim1, LPTIM_FLAG_CMPOK));  // wait for effective change

				__HAL_LPTIM_CLEAR_FLAG(&hlptim1, LPTIM_FLAG_CMPM);          // clear CMP interrupt flag
				__HAL_LPTIM_ENABLE_IT(&hlptim1, LPTIM_IT_CMPM);             // enable CMP interrupt

				HAL_SuspendTick();
				enterStopMode();

				__HAL_LPTIM_DISABLE_IT(&hlptim1, LPTIM_IT_CMPM);            // disable CMP interrupt
			}
		}
	}

	while(get_precision_tick() < target_ticks);                       // wait residue time here ( < 10 ticks)
}

static uint8_t get_battery_level(){
	return 0;
}

/*
 * This function is executed after initializing rfm95 (ready to accept interrupts
 * without hard fault errors)
 */
void rfm95_after_interrupts_configured(){
  HAL_NVIC_SetPriority(EXTI15_10_IRQn, 0, 0);
  HAL_NVIC_EnableIRQ(EXTI15_10_IRQn);
}

/* Get random number from internal RNG.
 * This function automatically manages activation/de-activation of RNG module to save power
 *
 * return values:
 * - 0 = no errors
 * - 1 = timeout
 * - 2 = seed error  -> RNG must be reinitialized (random number must be discarded)
 * - 3 = Clock error -> ensure rng_clk >= ahb_clk/16 (>= 5 MHz)
 */
uint8_t get_random_number(uint32_t *random_number, uint16_t timeout){

  // enable RNG peripheral:
  __HAL_RNG_ENABLE(&hrng);

  // clear clock error and seed error interrupt flags:
  __HAL_RNG_CLEAR_IT(&hrng, RNG_IT_CEI);
  __HAL_RNG_CLEAR_IT(&hrng, RNG_IT_SEI);

  // wait for data ready bit to be set:
  uint32_t start = HAL_GetTick();
  while(!__HAL_RNG_GET_FLAG(&hrng, RNG_FLAG_DRDY)){
    if (HAL_GetTick() - start > timeout) {
      __HAL_RNG_DISABLE(&hrng);
      return 1;
    }
  }

  // RNG can be switched off here:
  __HAL_RNG_DISABLE(&hrng);

  // check seed error:
  if(__HAL_RNG_GET_IT(&hrng, RNG_IT_SEI)) return 2;

  // check clock error:
  if(__HAL_RNG_GET_IT(&hrng, RNG_IT_CEI)) return 3;

  *random_number = hrng.Instance->DR;

  // check event seed error occurred while loading data:
  if(*random_number == 0) return 2;

  return 0;
}

/* Generate random number in range [min, max] expressed in
 * milliseconds
 *
 * If min > max, or max == 0, the random wait is skipped,
 * and 0 is returned as default.
 *
 * @param uint16_t  max represents maximum time (in ms)
 * @param uint16_t  min represents minimum time (in ms)
 *
 * @return uint16_t in range [min, max]
 */
static uint16_t random_wait(uint16_t min, uint16_t max){
  if ((min >= max) || (max == 0)) return 0;

  uint32_t num;
  uint8_t rng_err = get_random_number(&num, 1);

  if (rng_err){
    // TODO handle potential rng seed error/clock error here...

    num = 0;
  }

  uint16_t range = max - min + 1;
  return (uint16_t)(min + (num % range));
}

/* Setup the RTC wake-up counter to generate an interrupt event
 * used to schedule the next transmission within a time window
 * raging from [min, max] milliseconds.
 *  -> If the computed time is smaller than 5 ms the RTC event is skipped and
 *     the transmission EVT flag (SYS_EVT_TX_PENDING) is immediately set.
 *  -> If a WKUP timer is already running, the shortest between remaining time and
 *     the new computed time is kept
 *
 * SET MIN = MAX = 0 to skip the wait time and immediately schedule a new transmission
 * event.
 *
 * @param uint16_t  max represents maximum time (in ms) for the random wait
 * @param uint16_t  min represents minimum time (in ms) for the random wait
 *
 * @return uint16_t in range [min, max]
 */
static void schedule_tx_evt(uint16_t min, uint16_t max){
  RTC_TimeTypeDef sTime;
  RTC_DateTypeDef sDate;

  // get random time between [min, max] (in milliseconds)
  uint16_t t_rand = random_wait(min, max);

  if (t_rand <= 5) {
    /*
     * if less than 5 ms (10 RTC ticks) are computed, skip the timer
     * and directly set a TX event
     */
    HAL_RTCEx_DeactivateWakeUpTimer(&hrtc);

    h_sys.evt_flags |= SYS_EVT_TX_PENDING;
    return;
  }

  HAL_RTC_GetTime(&hrtc, &sTime, RTC_FORMAT_BIN);
  HAL_RTC_GetDate(&hrtc, &sDate, RTC_FORMAT_BIN);  // latch time

  // new EVT time in milliseconds
  uint32_t now_seconds = sTime.Hours * 3600 + sTime.Minutes * 60 + sTime.Seconds;
  uint16_t milliseconds = (uint16_t)(((sTime.SecondFraction - sTime.SubSeconds) * 1000U) / (sTime.SecondFraction + 1));
  uint32_t new_evt_time = now_seconds*1000 + milliseconds + t_rand;

  if (RTC->CR & RTC_CR_WUTE) { /* RTC WKUP already running */

    // If running timer is close to trigger -> wait for it
    if (tx_evt_time <= new_evt_time + 10) return;

    // otherwise block previous timer and start a new one with shorter WKUP CNT
    HAL_RTCEx_DeactivateWakeUpTimer(&hrtc);

  }

  tx_evt_time = new_evt_time;

  // compute corresponding RTC corresponding number of ticks
  uint32_t wakeUpCounter = (uint32_t) ((t_rand * LSE_CLK / 16u)/(1000u));

  HAL_RTCEx_SetWakeUpTimer_IT(&hrtc, wakeUpCounter, RTC_WAKEUPCLOCK_RTCCLK_DIV16);
}

// --------------------------------------------------------------------------------------

// -------------------------- System Power down routines --------------------------------

/*
 * Enter stop mode and resume clock configurations on exit
 */
void enterStopMode(){

  // Stop LPTIM and clear pending bits
  HAL_LPTIM_Counter_Stop_IT(&hlptim1);
  LPTIM1->ICR |= 0x3F;

  // CLear LPTIM IRQ at NVIC level
  NVIC_ClearPendingIRQ(LPTIM1_IRQn);

  // wake from HSI --> faster wake up sequence:
	__HAL_RCC_WAKEUPSTOP_CLK_CONFIG(RCC_STOP_WAKEUPCLOCK_HSI);

	// Enter stop mode 2:
	HAL_PWREx_EnterSTOP2Mode(PWR_STOPENTRY_WFI);

	// awake here...

	// resume system clock:
	if(READ_BIT(RCC->CR, RCC_CR_PLLRDY) == 0U) MySystemClock_Config();

	// resume system tick with correct clock
	HAL_ResumeTick();

	// Enable LPTIM again:
	HAL_LPTIM_Counter_Start_IT(&hlptim1, 0xFFFF);
}

/*
 * Modified clock setup function:
 * -> Avoid repeating initialization for the LSE 32 kHz clock if already running.
 *    Doing this every time the MCU exits STOP mode, results in a corrupted timing accuracy.
 */
void MySystemClock_Config(void) {
  RCC_OscInitTypeDef RCC_OscInitStruct = {0};
  RCC_ClkInitTypeDef RCC_ClkInitStruct = {0};

  /** Configure the main internal regulator output voltage
  */
  if (HAL_PWREx_ControlVoltageScaling(PWR_REGULATOR_VOLTAGE_SCALE1) != HAL_OK)
  {
    Error_Handler();
  }

  /** Configure LSE Drive Capability only if it
  */
  if ((HAL_IS_BIT_SET(RCC->BDCR, RCC_BDCR_LSEON) == 0) || (HAL_IS_BIT_SET(RCC->BDCR, RCC_BDCR_LSERDY)) != 1){
  	HAL_PWR_EnableBkUpAccess();
		__HAL_RCC_LSEDRIVE_CONFIG(RCC_LSEDRIVE_LOW);

		RCC_OscInitStruct.OscillatorType = RCC_OSCILLATORTYPE_LSE;
  }

  /** Initializes the RCC Oscillators according to the specified parameters
  * in the RCC_OscInitTypeDef structure.
  */
  RCC_OscInitStruct.OscillatorType |= RCC_OSCILLATORTYPE_HSI;
  RCC_OscInitStruct.LSEState = RCC_LSE_ON;
  RCC_OscInitStruct.HSIState = RCC_HSI_ON;
  RCC_OscInitStruct.HSICalibrationValue = RCC_HSICALIBRATION_DEFAULT;
  RCC_OscInitStruct.PLL.PLLState = RCC_PLL_ON;
  RCC_OscInitStruct.PLL.PLLSource = RCC_PLLSOURCE_HSI;
  RCC_OscInitStruct.PLL.PLLM = 1;
  RCC_OscInitStruct.PLL.PLLN = 10;
  RCC_OscInitStruct.PLL.PLLP = RCC_PLLP_DIV7;
  RCC_OscInitStruct.PLL.PLLQ = RCC_PLLQ_DIV2;
  RCC_OscInitStruct.PLL.PLLR = RCC_PLLR_DIV2;
  if (HAL_RCC_OscConfig(&RCC_OscInitStruct) != HAL_OK)
  {
    Error_Handler();
  }

  /** Initializes the CPU, AHB and APB buses clocks
  */
  RCC_ClkInitStruct.ClockType = RCC_CLOCKTYPE_HCLK|RCC_CLOCKTYPE_SYSCLK
                              |RCC_CLOCKTYPE_PCLK1|RCC_CLOCKTYPE_PCLK2;
  RCC_ClkInitStruct.SYSCLKSource = RCC_SYSCLKSOURCE_PLLCLK;
  RCC_ClkInitStruct.AHBCLKDivider = RCC_SYSCLK_DIV1;
  RCC_ClkInitStruct.APB1CLKDivider = RCC_HCLK_DIV1;
  RCC_ClkInitStruct.APB2CLKDivider = RCC_HCLK_DIV1;

  if (HAL_RCC_ClockConfig(&RCC_ClkInitStruct, FLASH_LATENCY_4) != HAL_OK)
  {
    Error_Handler();
  }
}

// --------------------------------------------------------------------------------------

// ------------------------------------- Call-backs --------------------------------------

// Auto-reload callback for LPTIM module
void HAL_LPTIM_AutoReloadMatchCallback(LPTIM_HandleTypeDef *hlptim){
  lptim_tick_msb += 0x10000;
}

// Compare match callback for LPTIM module
void HAL_LPTIM_CompareMatchCallback(LPTIM_HandleTypeDef *hlptim){
  // do nothing...
}

// RTC wkup timer -> needed to schedule tx events
void HAL_RTCEx_WakeUpTimerEventCallback(RTC_HandleTypeDef *hrtc){
  h_sys.evt_flags |= SYS_EVT_TX_PENDING;
}

// GPIO external interrupts callback
void HAL_GPIO_EXTI_Callback(uint16_t GPIO_Pin){

	// Events on RFM95 interrupt pins
  if (GPIO_Pin == RFM95_DIO0_Pin) {
    rfm95_on_interrupt(&rfm95_handle, RFM95_INTERRUPT_DIO0);

    // something received
    if(rfm95_handle.rfm_status == RXCONTIN_MODE) h_sys.evt_flags |= SYS_EVT_RX_PENDING;

  } else if (GPIO_Pin == RFM95_DIO1_Pin) {
    rfm95_on_interrupt(&rfm95_handle, RFM95_INTERRUPT_DIO1);
  } else if (GPIO_Pin == RFM95_DIO5_Pin) {
    rfm95_on_interrupt(&rfm95_handle, RFM95_INTERRUPT_DIO5);
  } else if (GPIO_Pin == B1_Pin) {
  	tx_evt = true;
  }
}

// ----------------------------------------------------------------------------------------

// --------------------------------- DEBUG FUNCTIONS --------------------------------------

void build_pkt(uint16_t sync, uint8_t mask, uint8_t nodeID, uint16_t pktID, uint8_t* sensors, uint8_t sens_len,
		           int16_t rssi, uint8_t* bc_seq, uint8_t bc_seq_len, uint8_t* t_buff, uint8_t* t_buff_len){

	t_buff[SYNC_WORD_POS]   = (uint8_t)((sync >> 8) & 0xFF);
	t_buff[SYNC_WORD_POS+1] = (uint8_t)( sync & 0xFF);
	t_buff[MASK_POS]        = mask;
	t_buff[NODE_ID_POS]     = nodeID;
	t_buff[PKT_ID_MSB_POS]  = (uint8_t)((pktID >> 8) & 0xFF);
	t_buff[PKT_ID_LSB_POS]  = (uint8_t)(pktID & 0xFF);

	memcpy(&t_buff[SMPL_DATA_POS],sensors, sens_len);

	*t_buff_len = ENV_NODE_PYL_SIZE;

	if(bc_seq_len != 0){

		t_buff[RSSI_POS]        = (uint8_t)((rssi >> 8) & 0xFF);
		t_buff[RSSI_POS+1]      = (uint8_t)(rssi & 0xFF);

		memcpy(&t_buff[BC_ID1_POS],bc_seq,bc_seq_len);

		*t_buff_len += (RSSI_BYTES + bc_seq_len);

	}

}

void print_LL(){

  if (h_tx.ll_status == LL_EMPTY){

    printf("\n\nIns Idx %i\r\n\n", h_tx.ins_idx);

    for(int i = 0; i < BUFF_FIFO_SIZE; i++){
      printf("[");
      printf("%i->",i);
      printf("%i]  ",h_tx.ll_buff[i].next_free_idx);
    }

    printf("\r\n");
    return;
  }

  uint16_t i = h_tx.head;
  while(i != LL_IDX_IS_TAIL){
    printf("[");
    printf("%i<-",h_tx.ll_buff[i].prev_element_idx);
    printf("%i->",h_tx.ll_buff[i].idx_rx_buff);
    printf("%i]  ",h_tx.ll_buff[i].next_element_idx);

    i = h_tx.ll_buff[i].next_element_idx;
  }

  printf("\r\n");
}

/*
 * Function used to print on UART serial (DEBUG)
 */
int _write(int file, char *ptr, int len) {
  HAL_UART_Transmit(&huart2, (uint8_t *)ptr, len, HAL_MAX_DELAY);
  return len;
}

/*
 * Use these two functions to SET/RESET the debug pin.
 * This allows to measure precise timing with an external DSO/Meter.
 *
 * example:
 *
 *  debug_pin_set();
 *  target_function();
 *  debug_pin_reset();
 *
 * allows to measure time execution of the target_function().
 */
void debug_pin_set(){
  HAL_GPIO_WritePin(Test_GPIO_Port, Test_Pin, GPIO_PIN_SET);
}

void debug_pin_rst(){
  HAL_GPIO_WritePin(Test_GPIO_Port, Test_Pin, GPIO_PIN_RESET);
}

// -----------------------------------------------------------------------------------------

/* USER CODE END 4 */

void Error_Handler(void)
{
  __disable_irq();
  while (1)
  {
  }
}
